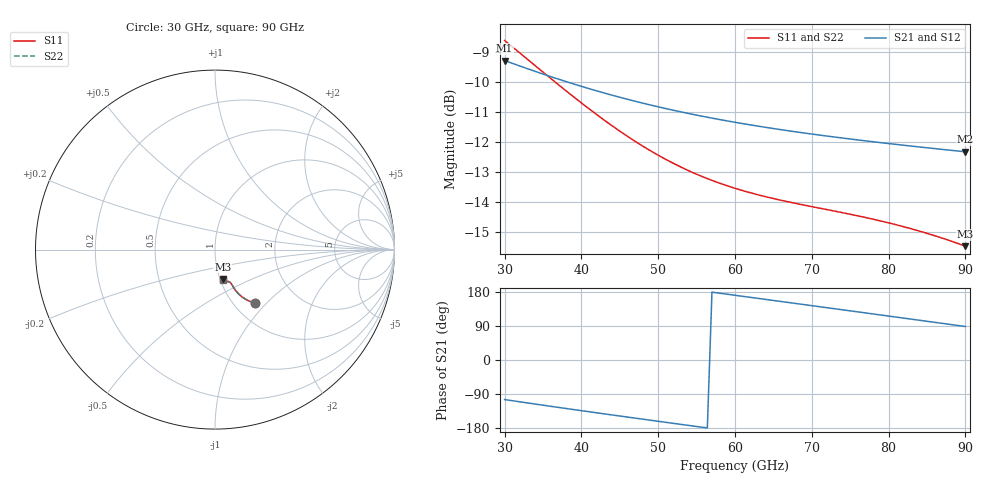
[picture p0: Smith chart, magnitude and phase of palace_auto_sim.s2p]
#  GHZ S DB R 50
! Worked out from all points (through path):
!   101 points, 30 GHz to 90 GHz, reference 50 ohm
!   highest |S21| = -9.29 dB at 30 GHz (marker M1); lowest = -12.3 dB at 90 GHz (marker M2)
!   group delay of S21, straight-line fit = 7.69 ps
!   lowest |S11| = -15.5 dB at 90 GHz (marker M3), VSWR 1.40, Z = 51.5 - j17.3 ohm
!   |S11| at or under -10 dB: 36.54 GHz to end of sweep
!   |S22| runs from -15.3 to -8.6 dB; largest |S21 - S12| = 4.2e-14
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30  -8.62 -53.4  -9.29 -104.4  -9.29 -104.4  -8.62 -53.3
32.4  -9.13 -55.8  -9.51 -111.6  -9.51 -111.6  -9.12 -55.7
34.8  -9.64 -57.9  -9.73 -118.7  -9.73 -118.7  -9.63 -57.7
37.2  -10.14 -59.6  -9.93 -125.7  -9.93 -125.7  -10.12 -59.4
40.2  -10.74 -61.3  -10.17 -134.3  -10.17 -134.3  -10.73 -61.1
42.6  -11.21 -62.3  -10.35 -141.1  -10.35 -141.1  -11.18 -62.1
45  -11.64 -63.0  -10.52 -147.8  -10.52 -147.8  -11.61 -62.8
47.4  -12.05 -63.5  -10.67 -154.5  -10.67 -154.5  -12.01 -63.3
50.4  -12.50 -63.9  -10.86 -162.8  -10.86 -162.8  -12.45 -63.6
52.8  -12.82 -64.1  -10.99 -169.4  -10.99 -169.4  -12.76 -63.8
55.2  -13.10 -64.2  -11.12 -176.0  -11.12 -176.0  -13.03 -63.9
57.6  -13.34 -64.3  -11.24 177.4  -11.24 177.4  -13.26 -64.0
60  -13.55 -64.5  -11.35 170.8  -11.35 170.8  -13.46 -64.2
64.8  -13.88 -65.0  -11.55 157.7  -11.55 157.7  -13.77 -64.8
67.2  -14.01 -65.5  -11.64 151.1  -11.64 151.1  -13.90 -65.3
70.2  -14.17 -66.3  -11.75 142.9  -11.75 142.9  -14.04 -66.1
73.2  -14.32 -67.3  -11.85 134.6  -11.85 134.6  -14.18 -67.2
75.6  -14.44 -68.3  -11.92 128.0  -11.92 128.0  -14.30 -68.2
80.4  -14.72 -70.5  -12.07 114.8  -12.07 114.8  -14.56 -70.5
85.2  -15.06 -72.9  -12.20 101.6  -12.20 101.6  -14.89 -73.0
87.6  -15.26 -74.1  -12.27 95.0  -12.27 95.0  -15.08 -74.3
90  -15.47 -75.3  -12.33 88.4  -12.33 88.4  -15.29 -75.6
